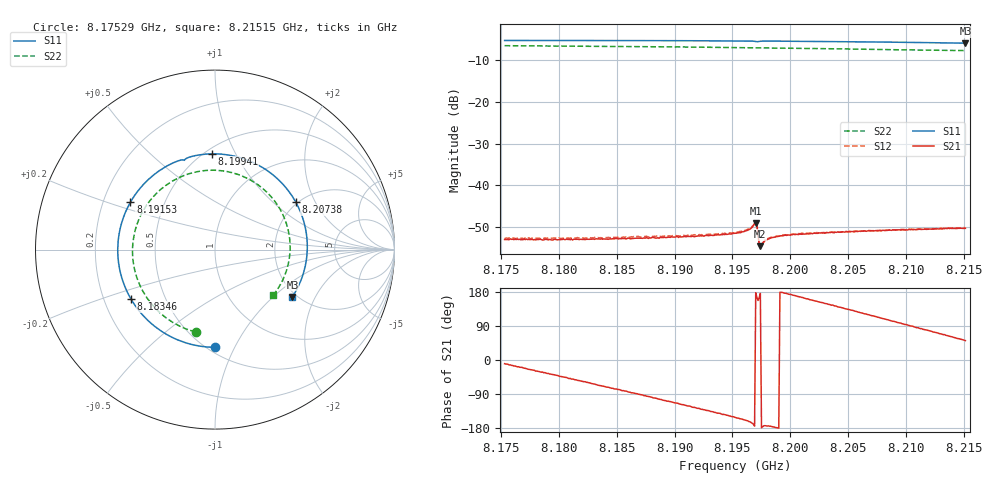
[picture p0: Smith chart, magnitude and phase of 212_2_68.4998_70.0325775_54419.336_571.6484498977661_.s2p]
#  HZ  S  RI  R  50.00
! Rohde & Schwarz Vector Network Analyzer
! Rohde-Schwarz,ZNB20-2Port,1311601062101988,3.16
! Created: UTC 3/20/2024, 4:58:04 PM
! freq[Hz]  re:S11  im:S11  re:S21  im:S21  re:S12  im:S12  re:S22  im:S22
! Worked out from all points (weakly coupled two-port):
!   401 points, 8.17529 GHz to 8.21515 GHz, reference 50 ohm
!   highest |S21| = -49.06 dB at 8.19701 GHz (marker M1); lowest = -54.6 dB at 8.19741 GHz (marker M2)
!   lowest |S11| = -5.9 dB at 8.21515 GHz (marker M3), VSWR 3.04, Z = 94.8 - j67 ohm
!   |S11| at or under -10 dB: nowhere
!   |S22| runs from -7.7 to -6.5 dB; largest |S21 - S12| = 0.00017
!   S11 on the Smith chart (normalised r, x): 8.17529 GHz: 0.54, -0.84; 8.18346 GHz: 0.32, -0.25; 8.19153 GHz: 0.32, +0.24; 8.19941 GHz: 0.54, +0.81; 8.20738 GHz: 1.94, +1.42; 8.21515 GHz: 1.90, -1.34
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8.175291e9  -0.000723 -0.5444  0.00222 -0.000383  0.00227 -0.000406  -0.1077 -0.4592
8.178579e9  -0.2202 -0.4975  0.00188 -0.00116  0.00196 -0.0013  -0.274 -0.3791
8.181967e9  -0.4073 -0.3597  0.00126 -0.00187  0.00128 -0.00197  -0.3988 -0.2374
8.183462e9  -0.468 -0.2756  0.000896 -0.0021  0.000914 -0.00217  -0.4333 -0.1619
8.186053e9  -0.5317 -0.1076  0.000213 -0.00232  0.000205 -0.00239  -0.4593 -0.0209
8.188643e9  -0.5367 0.0726  -0.000537 -0.00226  -0.000603 -0.00239  -0.4408 0.1214
8.191533e9  -0.4717 0.2631  -0.0014 -0.00203  -0.00144 -0.00208  -0.3692 0.264
8.19522e9  -0.2949 0.4497  -0.00235 -0.00128  -0.00244 -0.00122  -0.2129 0.3951
8.196316e9  -0.2257 0.4864  -0.00274 -0.000972  -0.00285 -0.00088  -0.1564 0.4188
8.196914e9  -0.1829 0.4998  -0.00342 -0.000331  -0.0035 -0.0002  -0.124 0.4283
8.197014e9  -0.1757 0.4994  -0.00352 0.000157  -0.00359 0.000303  -0.1187 0.4298
8.197412e9  -0.1594 0.5084  -0.00186 0.000139  -0.00188 0.000222  -0.0968 0.4345
8.197512e9  -0.1525 0.5116  -0.00192 -4.9e-05  -0.00197 1.14e-05  -0.0914 0.4355
8.19821e9  -0.1027 0.525  -0.0023 -0.000215  -0.00234 -0.00014  -0.0522 0.4407
8.199405e9  -0.0179 0.5336  -0.0025 0.000111  -0.00253 0.000248  0.0155 0.4413
8.201897e9  0.1555 0.5076  -0.00244 0.000996  -0.00241 0.00108  0.1532 0.409
8.204587e9  0.3222 0.4171  -0.00203 0.00189  -0.00195 0.00196  0.2831 0.3253
8.207377e9  0.4491 0.2664  -0.00121 0.0026  -0.00112 0.00266  0.3789 0.1934
8.208573e9  0.4843 0.1888  -0.000755 0.00282  -0.000696 0.00284  0.4033 0.1265
8.210267e9  0.5113 0.0711  -5.93e-05 0.00297  8.75e-06 0.00298  0.4184 0.0258
8.211861e9  0.5109 -0.0428  0.000589 0.00292  0.000679 0.00294  0.4102 -0.0711
8.21515e9  0.4311 -0.2634  0.00191 0.00238  0.00196 0.00239  0.3234 -0.2548
